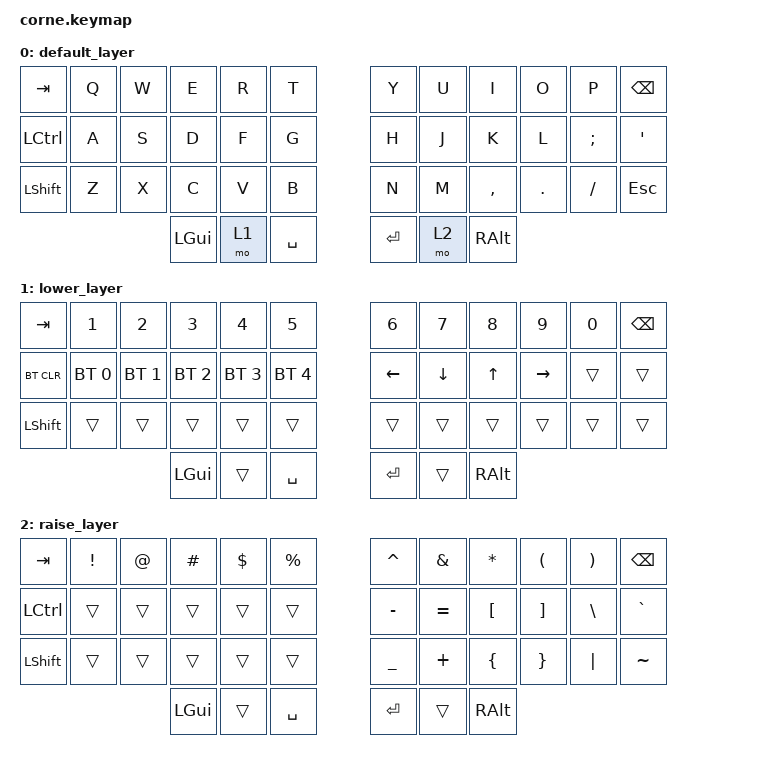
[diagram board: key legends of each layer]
/*
 * Copyright (c) 2020 The ZMK Contributors
 *
 * SPDX-License-Identifier: MIT
 */

#include <behaviors.dtsi>
#include <dt-bindings/zmk/keys.h>
#include <dt-bindings/zmk/bt.h>

/ {
        keymap {
                compatible = "zmk,keymap";

                default_layer {
                        bindings = <
// ---------------------------------------------------------------------------------------       -----------------------------------------------------------------------------------------
// |      TAB      |      Q      |      W      |      E      |      R      |      T      |       |      Y      |      U       |      I      |      O      |      P      |      BSPC      |
        &kp TAB         &kp Q         &kp W         &kp E         &kp R         &kp T                 &kp Y         &kp U          &kp I        &kp O          &kp P         &kp BSPC     
// ---------------------------------------------------------------------------------------       -----------------------------------------------------------------------------------------
// |     CTRL      |      A      |      S      |      D      |      F      |      G      |       |      H      |      J       |      K      |      L      |      ;      |      '         |
        &kp LCTRL       &kp A         &kp S        &kp D          &kp F         &kp G                 &kp H         &kp J         &kp K          &kp L        &kp SEMI      &kp SQT
// ---------------------------------------------------------------------------------------       -----------------------------------------------------------------------------------------
// |     SHFT      |      Z      |      X      |      C      |      V      |      B      |       |      N      |      M       |      ,      |      .      |      /      |     ESC        |
       &kp LSHFT        &kp Z         &kp X        &kp C          &kp V         &kp B                 &kp N         &kp M       &kp COMMA       &kp DOT       &kp FSLH       &kp ESC
// ---------------------------------------------------------------------------------------       -----------------------------------------------------------------------------------------
//                                             |     GUI     |     LWR     |     SPC     |       |     ENT     |     RSE      |     ALT     |
                                                   &kp LGUI       &mo 1        &kp SPACE            &kp RET         &mo 2         &kp RALT
//                                              ------------------------------------------       --------------------------------------------                                            
                        >;
                };
                lower_layer {
                        bindings = <
// ---------------------------------------------------------------------------------------       -----------------------------------------------------------------------------------------
// |      TAB      |      1      |      2      |      3      |      4      |      5      |       |      6      |      7       |      8      |      9      |      0      |      BSPC      |
        &kp TAB         &kp N1        &kp N2       &kp N3        &kp N4         &kp N5                &kp N6        &kp N7        &kp N8        &kp N9        &kp N0         &kp BSPC        
// ---------------------------------------------------------------------------------------       -----------------------------------------------------------------------------------------
// |     BTCLR     |     BT1     |     BT2     |      BT3    |      BT4    |      G      |       |      LFT    |      DWN     |      UP     |      RGT    |             |                |        
      &bt BT_CLR    &bt BT_SEL 0   &bt BT_SEL 1  &bt BT_SEL 2  &bt BT_SEL 3  &bt BT_SEL 4            &kp LEFT      &kp DOWN      &kp UP &kp     RIGHT         &trans          &trans
// ---------------------------------------------------------------------------------------       -----------------------------------------------------------------------------------------
// |     SHFT      |             |             |             |             |             |       |             |              |             |             |             |                |       
      &kp LSHFT        &trans         &trans       &trans         &trans       &trans                &trans          &trans         &trans       &trans        &trans        &trans
// ---------------------------------------------------------------------------------------       -----------------------------------------------------------------------------------------
//                                             |     GUI     |             |     SPC     |       |     ENT     |              |     ALT     |
                                                   &kp LGUI       &trans      &kp SPACE              &kp RET        &trans        &kp RALT                                                   
//                                              ------------------------------------------       --------------------------------------------  
                        >;
                };

                raise_layer {
// -----------------------------------------------------------------------------------------
// |  TAB |  !  |  @  |  #  |  $  |  %  |   |  ^  |  &  |  *  |  (  |  )  | BSPC |
// | CTRL |     |     |     |     |     |   |  -  |  =  |  [  |  ]  |  \  |  `   |
// | SHFT |     |     |     |     |     |   |  _  |  +  |  {  |  }  | "|" |  ~   |
//                    | GUI |     | SPC |   | ENT |     | ALT |
                        bindings = <
   &kp  TAB  &kp EXCL &kp AT &kp HASH &kp DLLR &kp PRCNT   &kp CARET &kp AMPS  &kp ASTRK &kp LPAR &kp RPAR &kp BSPC
   &kp LCTRL &trans   &trans &trans   &trans   &trans      &kp MINUS &kp EQUAL &kp LBKT  &kp RBKT &kp BSLH &kp GRAVE
   &kp LSHFT &trans   &trans &trans   &trans   &trans      &kp UNDER &kp PLUS  &kp LBRC  &kp RBRC &kp PIPE &kp TILDE
                             &kp LGUI &trans   &kp SPACE   &kp RET   &trans    &kp RALT
                        >;
                };
        };
};
